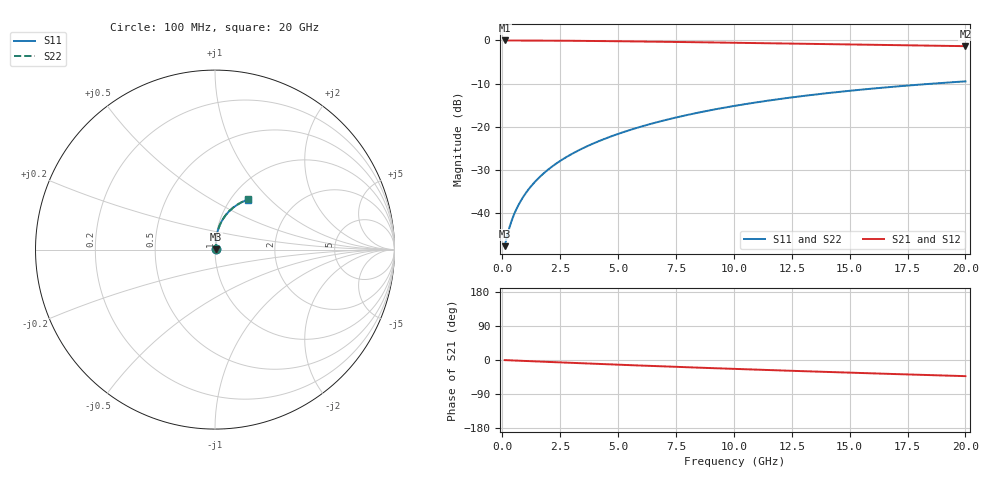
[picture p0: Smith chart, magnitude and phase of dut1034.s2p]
! Touchstone file exported from HFSS 2024.1.0
!  File:  C:/UserFiles/LocalFiles/RDL_TSV_Batchsim/temp_RDL_top_1034_1780043744.aedt
!  Generated:  04:38:26 PM May 29, 2026
!  Design:  RDL_top
!  Project:  temp_RDL_top_1034_1780043744
!  Setup:  Setup1
!  Solution:  Sweep
! Variables:
!  dtsv = 10.80580581um
!  hbump = 3um
!  htsv = 76.58um
!  ldown = 100um
!  lrdl = 651.7um
!  p = 40
!  p1 = 41.26um
!  rhole = 1um
!  t = 450um
!  tdown = 3.915915916um
!  trdl = 3.05um
!  wdown = 15.38538539um
!  wrdl = 21.72um
# GHz S MA R 50.000000
! Terminal data exported
! Port[1] = Box2_T1
! Port[2] = Box2_T2
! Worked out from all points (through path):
!   200 points, 100 MHz to 20 GHz, reference 50 ohm
!   highest |S21| = -0.03 dB at 100 MHz (marker M1); lowest = -1.4 dB at 20 GHz (marker M2)
!   group delay of S21, straight-line fit = 5.88 ps
!   lowest |S11| = -47.7 dB at 100 MHz (marker M3), VSWR 1.01, Z = 50.4 + j0.187 ohm
!   |S11| at or under -10 dB: start of sweep to 18.65 GHz
!   |S22| runs from -47.7 to -9.5 dB; largest |S21 - S12| = 3.7e-15
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0.1  0.004144 26.6  0.9963 -0.3  0.9963 -0.3  0.004144 26.6
! Gamma 0 0 0 0
! Port Impedance 50 0 50 0
0.3  0.006699 52.4  0.9958 -0.8  0.9958 -0.8  0.006699 52.4
0.4  0.008125 58.2  0.9956 -1.1  0.9956 -1.1  0.008125 58.2
0.5  0.009555 62.3  0.9954 -1.3  0.9954 -1.3  0.009554 62.3
0.6  0.01099 65.4  0.9951 -1.6  0.9951 -1.6  0.01099 65.4
0.8  0.01388 70.0  0.9947 -2.1  0.9947 -2.1  0.01388 70.0
1  0.01683 73.1  0.9943 -2.6  0.9943 -2.6  0.01683 73.1
1.2  0.01983 75.4  0.9939 -3.1  0.9939 -3.1  0.01983 75.4
1.7  0.02751 79.0  0.9926 -4.3  0.9926 -4.3  0.02751 79.0
2.2  0.03539 80.9  0.991 -5.6  0.991 -5.6  0.03539 80.9
2.8  0.04508 82.2  0.9885 -7.1  0.9885 -7.1  0.04509 82.2
3.5  0.05669 82.8  0.9851 -8.8  0.9851 -8.8  0.0567 82.9
4.2  0.0686 82.9  0.9812 -10.5  0.9812 -10.5  0.06863 83.0
5  0.08255 82.6  0.9761 -12.4  0.9761 -12.4  0.0826 82.7
5.9  0.09861 81.9  0.9699 -14.5  0.9699 -14.5  0.09868 81.9
6.8  0.115 80.8  0.9632 -16.5  0.9632 -16.5  0.115 80.9
8.4  0.1444 78.4  0.9506 -20.0  0.9506 -20.0  0.1445 78.4
10.1  0.1756 75.4  0.9366 -23.6  0.9366 -23.6  0.1758 75.4
11.7  0.2043 72.3  0.9234 -26.9  0.9234 -26.9  0.2046 72.4
13.4  0.2339 69.0  0.9093 -30.3  0.9093 -30.3  0.2342 69.1
16.7  0.2874 62.5  0.8821 -36.6  0.8821 -36.6  0.2878 62.6
20  0.3349 56.3  0.8557 -42.6  0.8557 -42.6  0.3354 56.4
